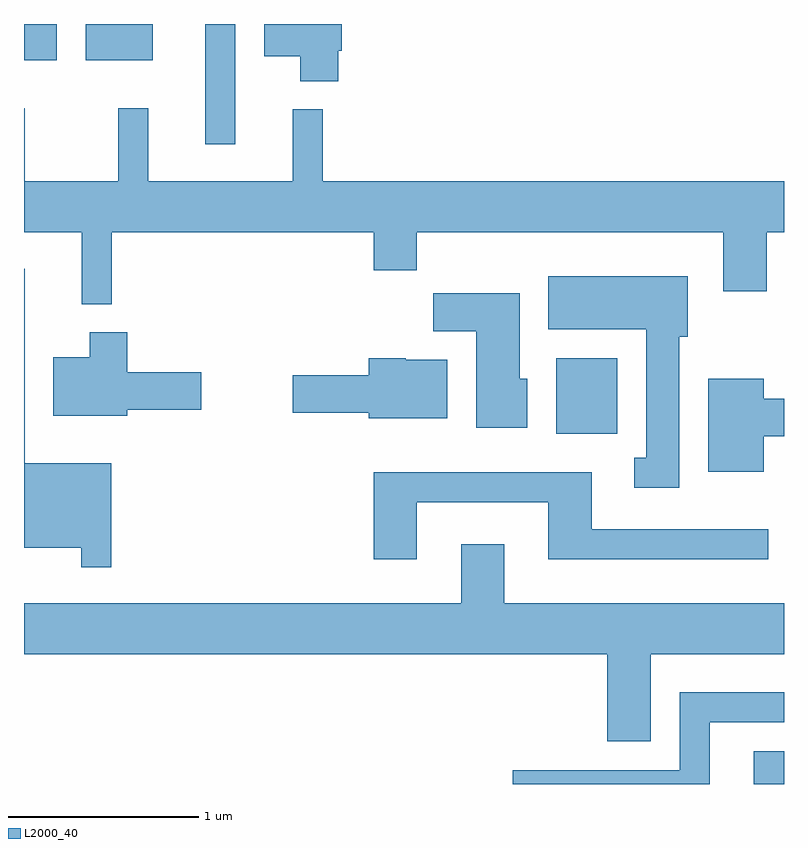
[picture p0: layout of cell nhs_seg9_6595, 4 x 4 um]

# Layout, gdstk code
import gdstk
lib = gdstk.Library(unit=1e-6, precision=1e-09)
def R(c, l, rs):  # rectangles x0, y0, x1, y1
    for r in rs: c.add(gdstk.rectangle(r[:2], r[2:], *l))
def P(c, l, *ps):  # polygons
    for p in ps: c.add(gdstk.Polygon(p, *l))
L2000_40 = (2000, 40)

nhs_seg9_6595 = lib.new_cell('nhs_seg9_6595')
R(nhs_seg9_6595, L2000_40, [(383.451,2024.432,383.611,2024.604), (382.411,2026.276,382.734,2026.674), (380.566,2027.798,380.724,2028.432), (379.611,2028.241,379.784,2028.432), (379.936,2028.241,380.289,2028.432)])
P(nhs_seg9_6595, L2000_40, [(381.264,2028.291),(381.284,2028.291),(381.284,2028.432),(380.876,2028.432),(380.876,2028.261),(381.066,2028.261),(381.066,2028.131),(381.264,2028.131)],
  [(380.074,2027.336),(381.451,2027.336),(381.451,2027.136),(381.679,2027.136),(381.679,2027.336),(383.291,2027.336),(383.291,2027.026),(383.519,2027.026),(383.519,2027.336),(383.611,2027.336),(383.611,2027.604),(381.184,2027.604),(381.184,2027.983),(381.026,2027.983),(381.026,2027.604),(380.264,2027.604),(380.264,2027.988),(380.106,2027.988),(380.106,2027.604),(379.614,2027.604),(379.614,2027.988),(379.611,2027.988),(379.611,2027.336),(379.916,2027.336),(379.916,2026.958),(380.074,2026.958)],
  [(380.069,2026.119),(379.614,2026.119),(379.614,2027.144),(379.611,2027.144),(379.611,2025.676),(379.911,2025.676),(379.911,2025.573),(380.069,2025.573)],
  [(383.059,2026.786),(383.104,2026.786),(383.104,2027.104),(382.371,2027.104),(382.371,2026.826),(382.886,2026.826),(382.886,2026.149),(382.823,2026.149),(382.823,2025.991),(383.059,2025.991)],
  [(382.259,2026.564),(382.219,2026.564),(382.219,2027.014),(381.766,2027.014),(381.766,2026.816),(381.991,2026.816),(381.991,2026.306),(382.259,2026.306)],
  [(380.154,2026.401),(380.544,2026.401),(380.544,2026.599),(380.154,2026.599),(380.154,2026.809),(379.956,2026.809),(379.956,2026.679),(379.766,2026.679),(379.766,2026.371),(380.154,2026.371)],
  [(381.839,2026.664),(381.62,2026.664),(381.62,2026.674),(381.426,2026.674),(381.426,2026.584),(381.026,2026.584),(381.026,2026.386),(381.426,2026.386),(381.426,2026.356),(381.839,2026.356)],
  [(383.504,2026.261),(383.611,2026.261),(383.611,2026.459),(383.504,2026.459),(383.504,2026.564),(383.211,2026.564),(383.211,2026.076),(383.504,2026.076)],
  [(381.679,2025.916),(382.371,2025.916),(382.371,2025.616),(383.528,2025.616),(383.528,2025.774),(382.599,2025.774),(382.599,2026.074),(381.451,2026.074),(381.451,2025.616),(381.679,2025.616)],
  [(382.909,2025.116),(383.611,2025.116),(383.611,2025.384),(382.139,2025.384),(382.139,2025.694),(381.911,2025.694),(381.911,2025.384),(379.611,2025.384),(379.611,2025.116),(382.681,2025.116),(382.681,2024.656),(382.909,2024.656)],
  [(383.219,2024.756),(383.611,2024.756),(383.611,2024.914),(383.061,2024.914),(383.061,2024.504),(382.183,2024.504),(382.183,2024.432),(383.219,2024.432)])

lib.write_gds('nhs_seg9_6595.gds')
